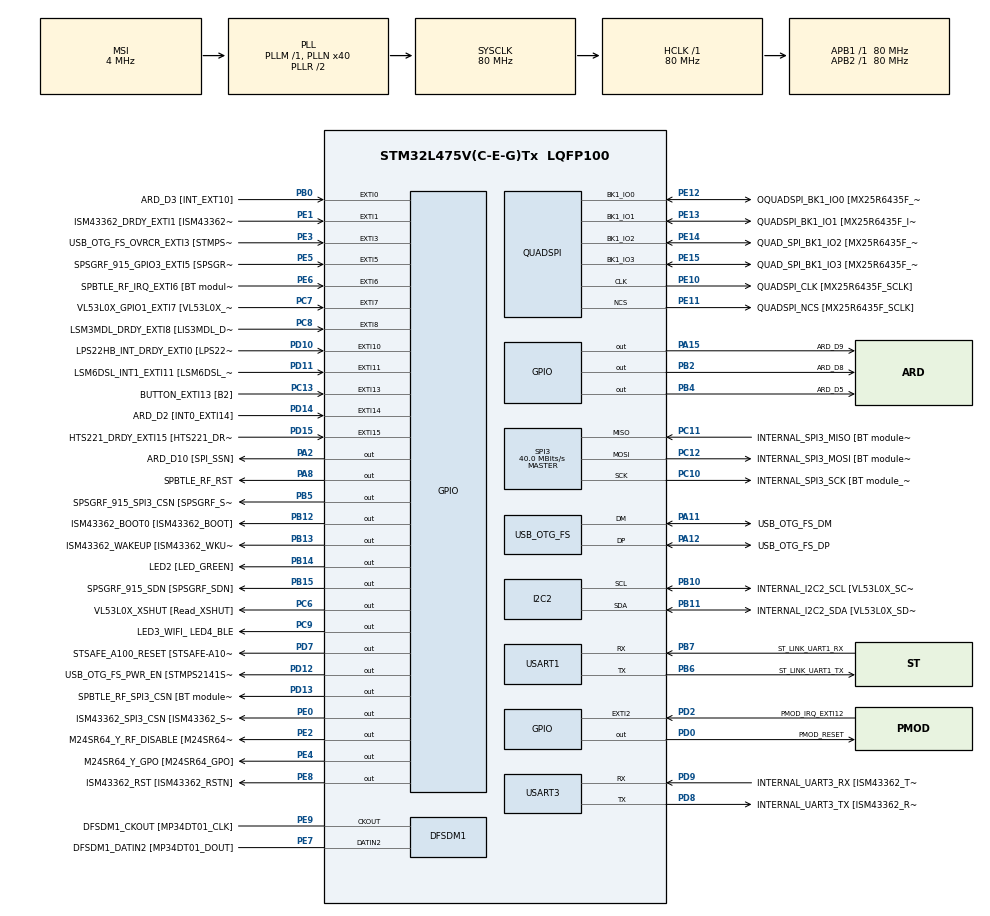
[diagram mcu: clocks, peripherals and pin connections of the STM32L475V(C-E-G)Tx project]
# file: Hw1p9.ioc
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FREERTOS.Tasks01=defaultTask,24,128,StartDefaultTask,Default,NULL,Dynamic,NULL,NULL
Mcu.Family=STM32L4
Mcu.Name=STM32L475V(C-E-G)Tx
Mcu.Package=LQFP100
NVIC.EXTI15_10_IRQn=true\:5\:0\:false\:false\:true\:true\:true\:true\:true
NVIC.EXTI9_5_IRQn=true\:5\:0\:false\:false\:true\:true\:true\:true\:true
NVIC.PriorityGroup=NVIC_PRIORITYGROUP_4
NVIC.TIM6_DAC_IRQn=true\:15\:0\:false\:false\:true\:false\:false\:true\:true
NVIC.TimeBase=TIM6_DAC_IRQn
NVIC.TimeBaseIP=TIM6
PA0.GPIO_Label=ARD_D1 [UART4_TX]
PA0.Signal=UART4_TX
PA1.GPIO_Label=ARD_D0 [UART4_RX]
PA1.Signal=UART4_RX
PA10.GPIO_Label=USB_OTG_FS_ID
PA10.Signal=USB_OTG_FS_ID
PA11.GPIO_Label=USB_OTG_FS_DM
PA11.Mode=Device_Only
PA11.Signal=USB_OTG_FS_DM
PA12.GPIO_Label=USB_OTG_FS_DP
PA12.Mode=Device_Only
PA12.Signal=USB_OTG_FS_DP
PA13\ (JTMS-SWDIO).GPIO_Label=SYS_JTMS_SWDIO
PA13\ (JTMS-SWDIO).Mode=Trace_Asynchronous_SW
PA13\ (JTMS-SWDIO).Signal=SYS_JTMS-SWDIO
PA14\ (JTCK-SWCLK).GPIO_Label=SYS_JTCK_SWCLK
PA14\ (JTCK-SWCLK).Mode=Trace_Asynchronous_SW
PA14\ (JTCK-SWCLK).Signal=SYS_JTCK-SWCLK
PA15\ (JTDI).GPIO_Label=ARD_D9
PA15\ (JTDI).Signal=GPIO_Output
PA2.GPIO_Label=ARD_D10 [SPI_SSN]
PA2.Signal=GPIO_Output
PA3.GPIO_Label=ARD_D4
PA3.Signal=S_TIM2_CH4
PA4.GPIO_Label=ARD_D7
PA4.Signal=ADCx_IN9
PA5.GPIO_Label=ARD_D13 [SPI1_SCK]
PA5.Signal=SPI1_SCK
PA6.GPIO_Label=ARD_D12 [SPI1_MISO]
PA6.Signal=SPI1_MISO
PA7.GPIO_Label=ARD_D11 [SPI1_MOSI]
PA7.Signal=SPI1_MOSI
PA8.GPIO_Label=SPBTLE_RF_RST
PA8.Signal=GPIO_Output
PA9.GPIO_Label=USB_OTG_FS_VBUS [STMPS2141STR_OUT]
PA9.Signal=USB_OTG_FS_VBUS
PB0.GPIO_Label=ARD_D3 [INT_EXT10]
PB0.Signal=GPXTI0
PB1.GPIO_Label=ARD_D6 [ADC1_IN6]
PB1.Signal=ADCx_IN16
PB10.GPIO_Label=INTERNAL_I2C2_SCL [VL53L0X_SCL]
PB10.GPIO_Pu=GPIO_PULLUP
PB10.Mode=I2C
PB10.Signal=I2C2_SCL
PB11.GPIO_Label=INTERNAL_I2C2_SDA [VL53L0X_SDA]
PB11.GPIO_Pu=GPIO_PULLUP
PB11.Mode=I2C
PB11.Signal=I2C2_SDA
PB12.GPIO_Label=ISM43362_BOOT0 [ISM43362_BOOT]
PB12.Signal=GPIO_Output
PB13.GPIO_Label=ISM43362_WAKEUP [ISM43362_WKUP]
PB13.Signal=GPIO_Output
PB14.GPIO_Label=LED2 [LED_GREEN]
PB14.Signal=GPIO_Output
PB15.GPIO_Label=SPSGRF_915_SDN [SPSGRF_SDN]
PB15.Signal=GPIO_Output
PB2.GPIO_Label=ARD_D8
PB2.Signal=GPIO_Output
PB3\ (JTDO-TRACESWO).GPIO_Label=SYS_JTD0_SWO
PB3\ (JTDO-TRACESWO).Mode=Trace_Asynchronous_SW
PB3\ (JTDO-TRACESWO).Signal=SYS_JTDO-SWO
PB4\ (NJTRST).GPIO_Label=ARD_D5
PB4\ (NJTRST).Signal=GPIO_Output
PB5.GPIO_Label=SPSGRF_915_SPI3_CSN [SPSGRF_SPI_CS]
PB5.PinState=GPIO_PIN_SET
PB5.Signal=GPIO_Output
PB6.GPIO_Label=ST_LINK_UART1_TX
PB6.Mode=Asynchronous
PB6.Signal=USART1_TX
PB7.GPIO_Label=ST_LINK_UART1_RX
PB7.Mode=Asynchronous
PB7.Signal=USART1_RX
PB8.GPIO_Label=ARD_D15 [I2C1_SCL]
PB8.Signal=I2C1_SCL
PB9.GPIO_Label=ARD_D14 [I2C1_SDA]
PB9.Signal=I2C1_SDA
PC0.GPIO_Label=ARD_A5 [ADC]
PC0.Signal=ADCx_IN1
PC1.GPIO_Label=ARD_A4 [ADC]
PC1.Signal=ADCx_IN2
PC10.GPIO_Label=INTERNAL_SPI3_SCK [BT module_SPI_SCLK] [ISM43362_SCK]
PC10.Mode=Full_Duplex_Master
PC10.Signal=SPI3_SCK
PC11.GPIO_Label=INTERNAL_SPI3_MISO [BT module_SPI_MISO] [ISM43362_MISO]
PC11.Mode=Full_Duplex_Master
PC11.Signal=SPI3_MISO
PC12.GPIO_Label=INTERNAL_SPI3_MOSI [BT module_SPI_MOSI] [ISM43362_MOSI]
PC12.Mode=Full_Duplex_Master
PC12.Signal=SPI3_MOSI
PC13.GPIO_Label=BUTTON_EXTI13 [B2]
PC13.GPIO_ModeDefaultEXTI=GPIO_MODE_IT_FALLING
PC13.Signal=GPXTI13
PC14-OSC32_IN\ (PC14).Mode=LSE-External-Oscillator
PC14-OSC32_IN\ (PC14).Signal=RCC_OSC32_IN
PC15-OSC32_OUT\ (PC15).Mode=LSE-External-Oscillator
PC15-OSC32_OUT\ (PC15).Signal=RCC_OSC32_OUT
PC2.GPIO_Label=ARD_A3 [ADC]
PC2.Signal=ADCx_IN3
PC3.GPIO_Label=ARD_A2 [ADC]
PC3.Signal=ADCx_IN4
PC4.GPIO_Label=ARD_A1 [ADC]
PC4.Signal=ADCx_IN13
PC5.GPIO_Label=ARD_A0 [ADC]
PC5.Signal=ADCx_IN14
PC6.GPIO_Label=VL53L0X_XSHUT [Read_XSHUT]
PC6.Signal=GPIO_Output
PC7.GPIO_Label=VL53L0X_GPIO1_EXTI7 [VL53L0X_GPIO1]
PC7.Signal=GPXTI7
PC8.GPIO_Label=LSM3MDL_DRDY_EXTI8 [LIS3MDL_DRDY]
PC8.Signal=GPXTI8
PC9.GPIO_Label=LED3_WIFI_ LED4_BLE
PC9.Signal=GPIO_Output
PD0.GPIO_Label=PMOD_RESET
PD0.Signal=GPIO_Output
PD1.GPIO_Label=PMOD_SPI2_SCK
PD1.Signal=SPI2_SCK
PD10.GPIO_Label=LPS22HB_INT_DRDY_EXTI0 [LPS22HB_INT_DRDY] 
PD10.Signal=GPXTI10
PD11.GPIO_Label=LSM6DSL_INT1_EXTI11 [LSM6DSL_INT1]
PD11.Signal=GPXTI11
PD12.GPIO_Label=USB_OTG_FS_PWR_EN [STMPS2141STR_EN]
PD12.Signal=GPIO_Output
PD13.GPIO_Label=SPBTLE_RF_SPI3_CSN [BT module_SPI_CS]
PD13.PinState=GPIO_PIN_SET
PD13.Signal=GPIO_Output
PD14.GPIO_Label=ARD_D2 [INT0_EXTI14]
PD14.Signal=GPXTI14
PD15.GPIO_Label=HTS221_DRDY_EXTI15 [HTS221_DRDY]
PD15.Signal=GPXTI15
PD2.GPIO_Label=PMOD_IRQ_EXTI12
PD2.Signal=GPXTI2
PD3.GPIO_Label=PMOD_UART2_CTS
PD3.Signal=USART2_CTS
PD4.GPIO_Label=PMOD_UART2_RTS
PD4.Signal=USART2_RTS
PD5.GPIO_Label=PMOD_UART2_TX
PD5.Signal=USART2_TX
PD6.GPIO_Label=PMOD_UART2_RX
PD6.Signal=USART2_RX
PD7.GPIO_Label=STSAFE_A100_RESET [STSAFE-A100_RESET]
PD7.Signal=GPIO_Output
PD8.GPIO_Label=INTERNAL_UART3_TX [ISM43362_RX]
PD8.Mode=Asynchronous
PD8.Signal=USART3_TX
PD9.GPIO_Label=INTERNAL_UART3_RX [ISM43362_TX]
PD9.Mode=Asynchronous
PD9.Signal=USART3_RX
PE0.GPIO_Label=ISM43362_SPI3_CSN [ISM43362_SSN]
PE0.PinState=GPIO_PIN_SET
PE0.Signal=GPIO_Output
PE1.GPIO_Label=ISM43362_DRDY_EXTI1 [ISM43362_DATARDY]
PE1.Signal=GPXTI1
PE10.GPIO_Label=QUADSPI_CLK [MX25R6435F_SCLK]
PE10.Mode=Single Bank
PE10.Signal=QUADSPI_CLK
PE11.GPIO_Label=QUADSPI_NCS [MX25R6435F_SCLK]
PE11.Mode=Single Bank
PE11.Signal=QUADSPI_NCS
PE12.GPIO_Label=OQUADSPI_BK1_IO0 [MX25R6435F_IO0]
PE12.Mode=Single Bank
PE12.Signal=QUADSPI_BK1_IO0
PE13.GPIO_Label=QUADSPI_BK1_IO1 [MX25R6435F_IO1]
PE13.Mode=Single Bank
PE13.Signal=QUADSPI_BK1_IO1
PE14.GPIO_Label=QUAD_SPI_BK1_IO2 [MX25R6435F_IO2]
PE14.Mode=Single Bank
PE14.Signal=QUADSPI_BK1_IO2
PE15.GPIO_Label=QUAD_SPI_BK1_IO3 [MX25R6435F_IO3]
PE15.Mode=Single Bank
PE15.Signal=QUADSPI_BK1_IO3
PE2.GPIO_Label=M24SR64_Y_RF_DISABLE [M24SR64_RFDIS]
PE2.Signal=GPIO_Output
PE3.GPIO_Label=USB_OTG_FS_OVRCR_EXTI3 [STMPS2141STR_FAULT]
PE3.Signal=GPXTI3
PE4.GPIO_Label=M24SR64_Y_GPO [M24SR64_GPO]
PE4.Signal=GPIO_Output
PE5.GPIO_Label=SPSGRF_915_GPIO3_EXTI5 [SPSGRF_GPIO_3]
PE5.Signal=GPXTI5
PE6.GPIO_Label=SPBTLE_RF_IRQ_EXTI6 [BT module_SPI_IRQ]
PE6.Signal=GPXTI6
PE7.GPIO_Label=DFSDM1_DATIN2 [MP34DT01_DOUT]
PE7.Signal=S_DATAIN2DFSDM1
PE8.GPIO_Label=ISM43362_RST [ISM43362_RSTN]
PE8.Signal=GPIO_Output
PE9.GPIO_Label=DFSDM1_CKOUT [MP34DT01_CLK]
PE9.Signal=S_CKOUTDFSDM1
ProjectManager.HeapSize=0x200
ProjectManager.StackSize=0x400
ProjectManager.TargetToolchain=STM32CubeIDE
QUADSPI.ClockPrescaler=2
QUADSPI.FifoThreshold=4
QUADSPI.FlashSize=23
QUADSPI.SampleShifting=QSPI_SAMPLE_SHIFTING_HALFCYCLE
RCC.ADCFreq_Value=48000000
RCC.AHBFreq_Value=80000000
RCC.APB1Freq_Value=80000000
RCC.APB1TimFreq_Value=80000000
RCC.APB2Freq_Value=80000000
RCC.APB2TimFreq_Value=80000000
RCC.CortexFreq_Value=80000000
RCC.HCLKFreq_Value=80000000
RCC.HSE_VALUE=8000000
RCC.HSI_VALUE=16000000
RCC.MSI_VALUE=4000000
RCC.PLLN=40
RCC.PLLSAI1N=24
RCC.SYSCLKFreq_VALUE=80000000
RCC.SYSCLKSource=RCC_SYSCLKSOURCE_PLLCLK
RCC.USBFreq_Value=48000000
RCC.VCOOutputFreq_Value=160000000
SH.ADCx_IN1.0=ADC1_IN1
SH.ADCx_IN13.0=ADC1_IN13
SH.ADCx_IN14.0=ADC1_IN14
SH.ADCx_IN16.0=ADC1_IN16
SH.ADCx_IN2.0=ADC1_IN2
SH.ADCx_IN3.0=ADC1_IN3
SH.ADCx_IN4.0=ADC1_IN4
SH.ADCx_IN9.0=ADC1_IN9
SH.S_CKOUTDFSDM1.0=DFSDM1_CKOUT,CKOUT
SH.S_CKOUTDFSDM1.1=DFSDM1_CKOUT,PDM_SPI_Input_from_ch12_and_Internal_Clock
SH.S_DATAIN2DFSDM1.0=DFSDM1_DATIN2,PDM_SPI_Input_from_ch12_and_Internal_Clock
SH.S_TIM2_CH4.0=TIM2_CH4
SPI3.CalculateBaudRate=40.0 MBits/s
SPI3.Direction=SPI_DIRECTION_2LINES
SPI3.Mode=SPI_MODE_MASTER
SPI3.VirtualType=VM_MASTER
USART1.VirtualMode-Asynchronous=VM_ASYNC
USART3.VirtualMode-Asynchronous=VM_ASYNC
USB_OTG_FS.VirtualMode=Device_Only
VP_FREERTOS_VS_CMSIS_V2.Mode=CMSIS_V2
VP_SYS_VS_tim6.Mode=TIM6
board=B-L475E-IOT01A1

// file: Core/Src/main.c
/* USER CODE BEGIN Header */
/**
  ******************************************************************************
  * @file           : main.c
  * @brief          : Main program body
  ******************************************************************************
  * @attention
  *
  * Copyright (c) 2024 STMicroelectronics.
  * All rights reserved.
  *
  * This software is licensed under terms that can be found in the LICENSE file
  * in the root directory of this software component.
  * If no LICENSE file comes with this software, it is provided AS-IS.
  *
  ******************************************************************************
  */
/* USER CODE END Header */
#include "main.h"
#include "cmsis_os.h"

/* USER CODE BEGIN Includes */
#include "FreeRTOS.h"
#include "task.h"
#include "timers.h"
#include <stdio.h>
#include <string.h>
#include "queue.h"
#include "semphr.h"
#include "event_groups.h"
/* USER CODE END Includes */

DFSDM_Channel_HandleTypeDef hdfsdm1_channel1;

I2C_HandleTypeDef hi2c2;

QSPI_HandleTypeDef hqspi;

SPI_HandleTypeDef hspi3;

UART_HandleTypeDef huart1;
UART_HandleTypeDef huart3;

PCD_HandleTypeDef hpcd_USB_OTG_FS;

/* Definitions for defaultTask */
osThreadId_t defaultTaskHandle;
int tick=0;
const osPriority_t norm=osPriorityNormal;
const osPriority_t abv=osPriorityAboveNormal;
const osThreadAttr_t defaultTask_attributes = {
  .name = "defaultTask",
  .stack_size = 128 * 4,
  .priority = osPriorityNormal,
};
/* USER CODE BEGIN PV */
osThreadId_t task3handle;
osThreadAttr_t task3_attributes = {
  .name = "Task3",
  .stack_size = 128 * 4,
  .priority = (osPriority_t) norm,
};
QueueHandle_t xQueue = NULL;
TaskHandle_t xHandle1 = NULL;
TaskHandle_t xHandle2 = NULL;
TaskHandle_t xHandle3 = NULL;
osThreadId_t task2handle;
const osThreadAttr_t task2_attributes = {
  .name = "Task2",
  .stack_size = 128 * 4,
  .priority = (osPriority_t) osPriorityNormal,
};
/* USER CODE END PV */

void SystemClock_Config(void);
static void MX_GPIO_Init(void);
static void MX_DFSDM1_Init(void);
static void MX_I2C2_Init(void);
static void MX_QUADSPI_Init(void);
static void MX_SPI3_Init(void);
static void MX_USART1_UART_Init(void);
static void MX_USART3_UART_Init(void);
static void MX_USB_OTG_FS_PCD_Init(void);
void StartDefaultTask(void *argument);

/* USER CODE BEGIN PFP */
void myTask02(void *arguement);
void myTask03(void *arguement);
/* USER CODE END PFP */

int main(void)
{

  /* MCU Configuration--------------------------------------------------------*/

  /* Reset of all peripherals, Initializes the Flash interface and the Systick. */
  HAL_Init();

  /* Configure the system clock */
  SystemClock_Config();

  /* Initialize all configured peripherals */
  MX_GPIO_Init();
  MX_DFSDM1_Init();
  MX_I2C2_Init();
  MX_QUADSPI_Init();
  MX_SPI3_Init();
  MX_USART1_UART_Init();
  MX_USART3_UART_Init();
  MX_USB_OTG_FS_PCD_Init();

  /* Init scheduler */
  osKernelInitialize();

  /* Create the thread(s) */
  /* creation of defaultTask */
  defaultTaskHandle = osThreadNew(StartDefaultTask, NULL, &defaultTask_attributes);
  task3handle = osThreadNew(myTask03, NULL, &task3_attributes);
  task2handle = osThreadNew(myTask02, NULL, &task2_attributes);

  /* Start scheduler */
  osKernelStart();

  /* We should never get here as control is now taken by the scheduler */

  /* Infinite loop */
  while (1)
  {

  }
}

void SystemClock_Config(void)
{
  RCC_OscInitTypeDef RCC_OscInitStruct = {0};
  RCC_ClkInitTypeDef RCC_ClkInitStruct = {0};

  /** Configure the main internal regulator output voltage
  */
  if (HAL_PWREx_ControlVoltageScaling(PWR_REGULATOR_VOLTAGE_SCALE1) != HAL_OK)
  {
    Error_Handler();
  }

  /** Configure LSE Drive Capability
  */
  HAL_PWR_EnableBkUpAccess();
  __HAL_RCC_LSEDRIVE_CONFIG(RCC_LSEDRIVE_LOW);

  /** Initializes the RCC Oscillators according to the specified parameters
  * in the RCC_OscInitTypeDef structure.
  */
  RCC_OscInitStruct.OscillatorType = RCC_OSCILLATORTYPE_LSE|RCC_OSCILLATORTYPE_MSI;
  RCC_OscInitStruct.LSEState = RCC_LSE_ON;
  RCC_OscInitStruct.MSIState = RCC_MSI_ON;
  RCC_OscInitStruct.MSICalibrationValue = 0;
  RCC_OscInitStruct.MSIClockRange = RCC_MSIRANGE_6;
  RCC_OscInitStruct.PLL.PLLState = RCC_PLL_ON;
  RCC_OscInitStruct.PLL.PLLSource = RCC_PLLSOURCE_MSI;
  RCC_OscInitStruct.PLL.PLLM = 1;
  RCC_OscInitStruct.PLL.PLLN = 40;
  RCC_OscInitStruct.PLL.PLLP = RCC_PLLP_DIV7;
  RCC_OscInitStruct.PLL.PLLQ = RCC_PLLQ_DIV2;
  RCC_OscInitStruct.PLL.PLLR = RCC_PLLR_DIV2;
  if (HAL_RCC_OscConfig(&RCC_OscInitStruct) != HAL_OK)
  {
    Error_Handler();
  }

  /** Initializes the CPU, AHB and APB buses clocks
  */
  RCC_ClkInitStruct.ClockType = RCC_CLOCKTYPE_HCLK|RCC_CLOCKTYPE_SYSCLK
                              |RCC_CLOCKTYPE_PCLK1|RCC_CLOCKTYPE_PCLK2;
  RCC_ClkInitStruct.SYSCLKSource = RCC_SYSCLKSOURCE_PLLCLK;
  RCC_ClkInitStruct.AHBCLKDivider = RCC_SYSCLK_DIV1;
  RCC_ClkInitStruct.APB1CLKDivider = RCC_HCLK_DIV1;
  RCC_ClkInitStruct.APB2CLKDivider = RCC_HCLK_DIV1;

  if (HAL_RCC_ClockConfig(&RCC_ClkInitStruct, FLASH_LATENCY_4) != HAL_OK)
  {
    Error_Handler();
  }

  /** Enable MSI Auto calibration
  */
  HAL_RCCEx_EnableMSIPLLMode();
}

static void MX_DFSDM1_Init(void)
{

  hdfsdm1_channel1.Instance = DFSDM1_Channel1;
  hdfsdm1_channel1.Init.OutputClock.Activation = ENABLE;
  hdfsdm1_channel1.Init.OutputClock.Selection = DFSDM_CHANNEL_OUTPUT_CLOCK_SYSTEM;
  hdfsdm1_channel1.Init.OutputClock.Divider = 2;
  hdfsdm1_channel1.Init.Input.Multiplexer = DFSDM_CHANNEL_EXTERNAL_INPUTS;
  hdfsdm1_channel1.Init.Input.DataPacking = DFSDM_CHANNEL_STANDARD_MODE;
  hdfsdm1_channel1.Init.Input.Pins = DFSDM_CHANNEL_FOLLOWING_CHANNEL_PINS;
  hdfsdm1_channel1.Init.SerialInterface.Type = DFSDM_CHANNEL_SPI_RISING;
  hdfsdm1_channel1.Init.SerialInterface.SpiClock = DFSDM_CHANNEL_SPI_CLOCK_INTERNAL;
  hdfsdm1_channel1.Init.Awd.FilterOrder = DFSDM_CHANNEL_FASTSINC_ORDER;
  hdfsdm1_channel1.Init.Awd.Oversampling = 1;
  hdfsdm1_channel1.Init.Offset = 0;
  hdfsdm1_channel1.Init.RightBitShift = 0x00;
  if (HAL_DFSDM_ChannelInit(&hdfsdm1_channel1) != HAL_OK)
  {
    Error_Handler();
  }

}

static void MX_I2C2_Init(void)
{

  hi2c2.Instance = I2C2;
  hi2c2.Init.Timing = 0x00000E14;
  hi2c2.Init.OwnAddress1 = 0;
  hi2c2.Init.AddressingMode = I2C_ADDRESSINGMODE_7BIT;
  hi2c2.Init.DualAddressMode = I2C_DUALADDRESS_DISABLE;
  hi2c2.Init.OwnAddress2 = 0;
  hi2c2.Init.OwnAddress2Masks = I2C_OA2_NOMASK;
  hi2c2.Init.GeneralCallMode = I2C_GENERALCALL_DISABLE;
  hi2c2.Init.NoStretchMode = I2C_NOSTRETCH_DISABLE;
  if (HAL_I2C_Init(&hi2c2) != HAL_OK)
  {
    Error_Handler();
  }

  /** Configure Analogue filter
  */
  if (HAL_I2CEx_ConfigAnalogFilter(&hi2c2, I2C_ANALOGFILTER_ENABLE) != HAL_OK)
  {
    Error_Handler();
  }

  /** Configure Digital filter
  */
  if (HAL_I2CEx_ConfigDigitalFilter(&hi2c2, 0) != HAL_OK)
  {
    Error_Handler();
  }

}

static void MX_QUADSPI_Init(void)
{

  /* QUADSPI parameter configuration*/
  hqspi.Instance = QUADSPI;
  hqspi.Init.ClockPrescaler = 2;
  hqspi.Init.FifoThreshold = 4;
  hqspi.Init.SampleShifting = QSPI_SAMPLE_SHIFTING_HALFCYCLE;
  hqspi.Init.FlashSize = 23;
  hqspi.Init.ChipSelectHighTime = QSPI_CS_HIGH_TIME_1_CYCLE;
  hqspi.Init.ClockMode = QSPI_CLOCK_MODE_0;
  if (HAL_QSPI_Init(&hqspi) != HAL_OK)
  {
    Error_Handler();
  }

}

static void MX_SPI3_Init(void)
{

  /* SPI3 parameter configuration*/
  hspi3.Instance = SPI3;
  hspi3.Init.Mode = SPI_MODE_MASTER;
  hspi3.Init.Direction = SPI_DIRECTION_2LINES;
  hspi3.Init.DataSize = SPI_DATASIZE_4BIT;
  hspi3.Init.CLKPolarity = SPI_POLARITY_LOW;
  hspi3.Init.CLKPhase = SPI_PHASE_1EDGE;
  hspi3.Init.NSS = SPI_NSS_SOFT;
  hspi3.Init.BaudRatePrescaler = SPI_BAUDRATEPRESCALER_2;
  hspi3.Init.FirstBit = SPI_FIRSTBIT_MSB;
  hspi3.Init.TIMode = SPI_TIMODE_DISABLE;
  hspi3.Init.CRCCalculation = SPI_CRCCALCULATION_DISABLE;
  hspi3.Init.CRCPolynomial = 7;
  hspi3.Init.CRCLength = SPI_CRC_LENGTH_DATASIZE;
  hspi3.Init.NSSPMode = SPI_NSS_PULSE_ENABLE;
  if (HAL_SPI_Init(&hspi3) != HAL_OK)
  {
    Error_Handler();
  }

}

static void MX_USART1_UART_Init(void)
{

  huart1.Instance = USART1;
  huart1.Init.BaudRate = 115200;
  huart1.Init.WordLength = UART_WORDLENGTH_8B;
  huart1.Init.StopBits = UART_STOPBITS_1;
  huart1.Init.Parity = UART_PARITY_NONE;
  huart1.Init.Mode = UART_MODE_TX_RX;
  huart1.Init.HwFlowCtl = UART_HWCONTROL_NONE;
  huart1.Init.OverSampling = UART_OVERSAMPLING_16;
  huart1.Init.OneBitSampling = UART_ONE_BIT_SAMPLE_DISABLE;
  huart1.AdvancedInit.AdvFeatureInit = UART_ADVFEATURE_NO_INIT;
  if (HAL_UART_Init(&huart1) != HAL_OK)
  {
    Error_Handler();
  }

}

static void MX_USART3_UART_Init(void)
{

  huart3.Instance = USART3;
  huart3.Init.BaudRate = 115200;
  huart3.Init.WordLength = UART_WORDLENGTH_8B;
  huart3.Init.StopBits = UART_STOPBITS_1;
  huart3.Init.Parity = UART_PARITY_NONE;
  huart3.Init.Mode = UART_MODE_TX_RX;
  huart3.Init.HwFlowCtl = UART_HWCONTROL_NONE;
  huart3.Init.OverSampling = UART_OVERSAMPLING_16;
  huart3.Init.OneBitSampling = UART_ONE_BIT_SAMPLE_DISABLE;
  huart3.AdvancedInit.AdvFeatureInit = UART_ADVFEATURE_NO_INIT;
  if (HAL_UART_Init(&huart3) != HAL_OK)
  {
    Error_Handler();
  }

}

static void MX_USB_OTG_FS_PCD_Init(void)
{

  hpcd_USB_OTG_FS.Instance = USB_OTG_FS;
  hpcd_USB_OTG_FS.Init.dev_endpoints = 6;
  hpcd_USB_OTG_FS.Init.speed = PCD_SPEED_FULL;
  hpcd_USB_OTG_FS.Init.phy_itface = PCD_PHY_EMBEDDED;
  hpcd_USB_OTG_FS.Init.Sof_enable = DISABLE;
  hpcd_USB_OTG_FS.Init.low_power_enable = DISABLE;
  hpcd_USB_OTG_FS.Init.lpm_enable = DISABLE;
  hpcd_USB_OTG_FS.Init.battery_charging_enable = DISABLE;
  hpcd_USB_OTG_FS.Init.use_dedicated_ep1 = DISABLE;
  hpcd_USB_OTG_FS.Init.vbus_sensing_enable = DISABLE;
  if (HAL_PCD_Init(&hpcd_USB_OTG_FS) != HAL_OK)
  {
    Error_Handler();
  }

}

static void MX_GPIO_Init(void)
{
  GPIO_InitTypeDef GPIO_InitStruct = {0};

  /* GPIO Ports Clock Enable */
  __HAL_RCC_GPIOE_CLK_ENABLE();
  __HAL_RCC_GPIOC_CLK_ENABLE();
  __HAL_RCC_GPIOA_CLK_ENABLE();
  __HAL_RCC_GPIOB_CLK_ENABLE();
  __HAL_RCC_GPIOD_CLK_ENABLE();

  /*Configure GPIO pin Output Level */
  HAL_GPIO_WritePin(GPIOE, M24SR64_Y_RF_DISABLE_Pin|M24SR64_Y_GPO_Pin|ISM43362_RST_Pin, GPIO_PIN_RESET);

  /*Configure GPIO pin Output Level */
  HAL_GPIO_WritePin(GPIOA, ARD_D10_Pin|SPBTLE_RF_RST_Pin|ARD_D9_Pin, GPIO_PIN_RESET);

  /*Configure GPIO pin Output Level */
  HAL_GPIO_WritePin(GPIOB, ARD_D8_Pin|ISM43362_BOOT0_Pin|ISM43362_WAKEUP_Pin|LED2_Pin
                          |SPSGRF_915_SDN_Pin|ARD_D5_Pin, GPIO_PIN_RESET);

  /*Configure GPIO pin Output Level */
  HAL_GPIO_WritePin(GPIOD, USB_OTG_FS_PWR_EN_Pin|PMOD_RESET_Pin|STSAFE_A100_RESET_Pin, GPIO_PIN_RESET);

  /*Configure GPIO pin Output Level */
  HAL_GPIO_WritePin(SPBTLE_RF_SPI3_CSN_GPIO_Port, SPBTLE_RF_SPI3_CSN_Pin, GPIO_PIN_SET);

  /*Configure GPIO pin Output Level */
  HAL_GPIO_WritePin(GPIOC, VL53L0X_XSHUT_Pin|LED3_WIFI__LED4_BLE_Pin, GPIO_PIN_RESET);

  /*Configure GPIO pin Output Level */
  HAL_GPIO_WritePin(SPSGRF_915_SPI3_CSN_GPIO_Port, SPSGRF_915_SPI3_CSN_Pin, GPIO_PIN_SET);

  /*Configure GPIO pin Output Level */
  HAL_GPIO_WritePin(ISM43362_SPI3_CSN_GPIO_Port, ISM43362_SPI3_CSN_Pin, GPIO_PIN_SET);

  /*Configure GPIO pins : M24SR64_Y_RF_DISABLE_Pin M24SR64_Y_GPO_Pin ISM43362_RST_Pin ISM43362_SPI3_CSN_Pin */
  GPIO_InitStruct.Pin = M24SR64_Y_RF_DISABLE_Pin|M24SR64_Y_GPO_Pin|ISM43362_RST_Pin|ISM43362_SPI3_CSN_Pin;
  GPIO_InitStruct.Mode = GPIO_MODE_OUTPUT_PP;
  GPIO_InitStruct.Pull = GPIO_NOPULL;
  GPIO_InitStruct.Speed = GPIO_SPEED_FREQ_LOW;
  HAL_GPIO_Init(GPIOE, &GPIO_InitStruct);

  /*Configure GPIO pins : USB_OTG_FS_OVRCR_EXTI3_Pin SPSGRF_915_GPIO3_EXTI5_Pin SPBTLE_RF_IRQ_EXTI6_Pin ISM43362_DRDY_EXTI1_Pin */
  GPIO_InitStruct.Pin = USB_OTG_FS_OVRCR_EXTI3_Pin|SPSGRF_915_GPIO3_EXTI5_Pin|SPBTLE_RF_IRQ_EXTI6_Pin|ISM43362_DRDY_EXTI1_Pin;
  GPIO_InitStruct.Mode = GPIO_MODE_IT_RISING;
  GPIO_InitStruct.Pull = GPIO_NOPULL;
  HAL_GPIO_Init(GPIOE, &GPIO_InitStruct);

  /*Configure GPIO pin : BUTTON_EXTI13_Pin */
  GPIO_InitStruct.Pin = BUTTON_EXTI13_Pin;
  GPIO_InitStruct.Mode = GPIO_MODE_IT_FALLING;
  GPIO_InitStruct.Pull = GPIO_NOPULL;
  HAL_GPIO_Init(BUTTON_EXTI13_GPIO_Port, &GPIO_InitStruct);

  /*Configure GPIO pins : ARD_A5_Pin ARD_A4_Pin ARD_A3_Pin ARD_A2_Pin
                           ARD_A1_Pin ARD_A0_Pin */
  GPIO_InitStruct.Pin = ARD_A5_Pin|ARD_A4_Pin|ARD_A3_Pin|ARD_A2_Pin
                          |ARD_A1_Pin|ARD_A0_Pin;
  GPIO_InitStruct.Mode = GPIO_MODE_ANALOG_ADC_CONTROL;
  GPIO_InitStruct.Pull = GPIO_NOPULL;
  HAL_GPIO_Init(GPIOC, &GPIO_InitStruct);

  /*Configure GPIO pins : ARD_D1_Pin ARD_D0_Pin */
  GPIO_InitStruct.Pin = ARD_D1_Pin|ARD_D0_Pin;
  GPIO_InitStruct.Mode = GPIO_MODE_AF_PP;
  GPIO_InitStruct.Pull = GPIO_NOPULL;
  GPIO_InitStruct.Speed = GPIO_SPEED_FREQ_VERY_HIGH;
  GPIO_InitStruct.Alternate = GPIO_AF8_UART4;
  HAL_GPIO_Init(GPIOA, &GPIO_InitStruct);

  /*Configure GPIO pins : ARD_D10_Pin SPBTLE_RF_RST_Pin ARD_D9_Pin */
  GPIO_InitStruct.Pin = ARD_D10_Pin|SPBTLE_RF_RST_Pin|ARD_D9_Pin;
  GPIO_InitStruct.Mode = GPIO_MODE_OUTPUT_PP;
  GPIO_InitStruct.Pull = GPIO_NOPULL;
  GPIO_InitStruct.Speed = GPIO_SPEED_FREQ_LOW;
  HAL_GPIO_Init(GPIOA, &GPIO_InitStruct);

  /*Configure GPIO pin : ARD_D4_Pin */
  GPIO_InitStruct.Pin = ARD_D4_Pin;
  GPIO_InitStruct.Mode = GPIO_MODE_AF_PP;
  GPIO_InitStruct.Pull = GPIO_NOPULL;
  GPIO_InitStruct.Speed = GPIO_SPEED_FREQ_LOW;
  GPIO_InitStruct.Alternate = GPIO_AF1_TIM2;
  HAL_GPIO_Init(ARD_D4_GPIO_Port, &GPIO_InitStruct);

  /*Configure GPIO pin : ARD_D7_Pin */
  GPIO_InitStruct.Pin = ARD_D7_Pin;
  GPIO_InitStruct.Mode = GPIO_MODE_ANALOG_ADC_CONTROL;
  GPIO_InitStruct.Pull = GPIO_NOPULL;
  HAL_GPIO_Init(ARD_D7_GPIO_Port, &GPIO_InitStruct);

  /*Configure GPIO pins : ARD_D13_Pin ARD_D12_Pin ARD_D11_Pin */
  GPIO_InitStruct.Pin = ARD_D13_Pin|ARD_D12_Pin|ARD_D11_Pin;
  GPIO_InitStruct.Mode = GPIO_MODE_AF_PP;
  GPIO_InitStruct.Pull = GPIO_NOPULL;
  GPIO_InitStruct.Speed = GPIO_SPEED_FREQ_VERY_HIGH;
  GPIO_InitStruct.Alternate = GPIO_AF5_SPI1;
  HAL_GPIO_Init(GPIOA, &GPIO_InitStruct);

  /*Configure GPIO pin : ARD_D3_Pin */
  GPIO_InitStruct.Pin = ARD_D3_Pin;
  GPIO_InitStruct.Mode = GPIO_MODE_IT_RISING;
  GPIO_InitStruct.Pull = GPIO_NOPULL;
  HAL_GPIO_Init(ARD_D3_GPIO_Port, &GPIO_InitStruct);

  /*Configure GPIO pin : ARD_D6_Pin */
  GPIO_InitStruct.Pin = ARD_D6_Pin;
  GPIO_InitStruct.Mode = GPIO_MODE_ANALOG_ADC_CONTROL;
  GPIO_InitStruct.Pull = GPIO_NOPULL;
  HAL_GPIO_Init(ARD_D6_GPIO_Port, &GPIO_InitStruct);

  /*Configure GPIO pins : ARD_D8_Pin ISM43362_BOOT0_Pin ISM43362_WAKEUP_Pin LED2_Pin
                           SPSGRF_915_SDN_Pin ARD_D5_Pin SPSGRF_915_SPI3_CSN_Pin */
  GPIO_InitStruct.Pin = ARD_D8_Pin|ISM43362_BOOT0_Pin|ISM43362_WAKEUP_Pin|LED2_Pin
                          |SPSGRF_915_SDN_Pin|ARD_D5_Pin|SPSGRF_915_SPI3_CSN_Pin;
  GPIO_InitStruct.Mode = GPIO_MODE_OUTPUT_PP;
  GPIO_InitStruct.Pull = GPIO_NOPULL;
  GPIO_InitStruct.Speed = GPIO_SPEED_FREQ_LOW;
  HAL_GPIO_Init(GPIOB, &GPIO_InitStruct);

  /*Configure GPIO pins : LPS22HB_INT_DRDY_EXTI0_Pin LSM6DSL_INT1_EXTI11_Pin ARD_D2_Pin HTS221_DRDY_EXTI15_Pin
                           PMOD_IRQ_EXTI12_Pin */
  GPIO_InitStruct.Pin = LPS22HB_INT_DRDY_EXTI0_Pin|LSM6DSL_INT1_EXTI11_Pin|ARD_D2_Pin|HTS221_DRDY_EXTI15_Pin
                          |PMOD_IRQ_EXTI12_Pin;
  GPIO_InitStruct.Mode = GPIO_MODE_IT_RISING;
  GPIO_InitStruct.Pull = GPIO_NOPULL;
  HAL_GPIO_Init(GPIOD, &GPIO_InitStruct);

  /*Configure GPIO pins : USB_OTG_FS_PWR_EN_Pin SPBTLE_RF_SPI3_CSN_Pin PMOD_RESET_Pin STSAFE_A100_RESET_Pin */
  GPIO_InitStruct.Pin = USB_OTG_FS_PWR_EN_Pin|SPBTLE_RF_SPI3_CSN_Pin|PMOD_RESET_Pin|STSAFE_A100_RESET_Pin;
  GPIO_InitStruct.Mode = GPIO_MODE_OUTPUT_PP;
  GPIO_InitStruct.Pull = GPIO_NOPULL;
  GPIO_InitStruct.Speed = GPIO_SPEED_FREQ_LOW;
  HAL_GPIO_Init(GPIOD, &GPIO_InitStruct);

  /*Configure GPIO pins : VL53L0X_XSHUT_Pin LED3_WIFI__LED4_BLE_Pin */
  GPIO_InitStruct.Pin = VL53L0X_XSHUT_Pin|LED3_WIFI__LED4_BLE_Pin;
  GPIO_InitStruct.Mode = GPIO_MODE_OUTPUT_PP;
  GPIO_InitStruct.Pull = GPIO_NOPULL;
  GPIO_InitStruct.Speed = GPIO_SPEED_FREQ_LOW;
  HAL_GPIO_Init(GPIOC, &GPIO_InitStruct);

  /*Configure GPIO pins : VL53L0X_GPIO1_EXTI7_Pin LSM3MDL_DRDY_EXTI8_Pin */
  GPIO_InitStruct.Pin = VL53L0X_GPIO1_EXTI7_Pin|LSM3MDL_DRDY_EXTI8_Pin;
  GPIO_InitStruct.Mode = GPIO_MODE_IT_RISING;
  GPIO_InitStruct.Pull = GPIO_NOPULL;
  HAL_GPIO_Init(GPIOC, &GPIO_InitStruct);

  /*Configure GPIO pin : PMOD_SPI2_SCK_Pin */
  GPIO_InitStruct.Pin = PMOD_SPI2_SCK_Pin;
  GPIO_InitStruct.Mode = GPIO_MODE_AF_PP;
  GPIO_InitStruct.Pull = GPIO_NOPULL;
  GPIO_InitStruct.Speed = GPIO_SPEED_FREQ_VERY_HIGH;
  GPIO_InitStruct.Alternate = GPIO_AF5_SPI2;
  HAL_GPIO_Init(PMOD_SPI2_SCK_GPIO_Port, &GPIO_InitStruct);

  /*Configure GPIO pins : PMOD_UART2_CTS_Pin PMOD_UART2_RTS_Pin PMOD_UART2_TX_Pin PMOD_UART2_RX_Pin */
  GPIO_InitStruct.Pin = PMOD_UART2_CTS_Pin|PMOD_UART2_RTS_Pin|PMOD_UART2_TX_Pin|PMOD_UART2_RX_Pin;
  GPIO_InitStruct.Mode = GPIO_MODE_AF_PP;
  GPIO_InitStruct.Pull = GPIO_NOPULL;
  GPIO_InitStruct.Speed = GPIO_SPEED_FREQ_VERY_HIGH;
  GPIO_InitStruct.Alternate = GPIO_AF7_USART2;
  HAL_GPIO_Init(GPIOD, &GPIO_InitStruct);

  /*Configure GPIO pins : ARD_D15_Pin ARD_D14_Pin */
  GPIO_InitStruct.Pin = ARD_D15_Pin|ARD_D14_Pin;
  GPIO_InitStruct.Mode = GPIO_MODE_AF_OD;
  GPIO_InitStruct.Pull = GPIO_NOPULL;
  GPIO_InitStruct.Speed = GPIO_SPEED_FREQ_VERY_HIGH;
  GPIO_InitStruct.Alternate = GPIO_AF4_I2C1;
  HAL_GPIO_Init(GPIOB, &GPIO_InitStruct);

  /* EXTI interrupt init*/
  HAL_NVIC_SetPriority(EXTI9_5_IRQn, 5, 0);
  HAL_NVIC_EnableIRQ(EXTI9_5_IRQn);

  HAL_NVIC_SetPriority(EXTI15_10_IRQn, 5, 0);
  HAL_NVIC_EnableIRQ(EXTI15_10_IRQn);

}

/* USER CODE BEGIN 4 */
void myTask02(void *arguement){
	  for(;;)
	  {
		if (tick==0){
			tick=1;
			task3_attributes.priority=(osPriority_t) abv;
		}
		else{
			tick=0;
			task3_attributes.priority=(osPriority_t) norm;
		}
	  }

}
void myTask03(void *arguement){
	  for(;;)
	  {
		HAL_GPIO_TogglePin (LED3_WIFI__LED4_BLE_GPIO_Port, LED3_WIFI__LED4_BLE_Pin);
		HAL_Delay(1000);
	  }
}
/* USER CODE END 4 */

void StartDefaultTask(void *argument)
{
  /* USER CODE BEGIN 5 */
  /* Infinite loop */
  for(;;)
  {
	HAL_GPIO_TogglePin (GPIOB, GPIO_PIN_14);
	HAL_GPIO_TogglePin (GPIOE, GPIO_PIN_3);
	//HAL_GPIO_TogglePin (LED3_WIFI__LED4_BLE_GPIO_Port, LED3_WIFI__LED4_BLE_Pin);
    HAL_Delay(1000);
  }
  /* USER CODE END 5 */
}

void HAL_TIM_PeriodElapsedCallback(TIM_HandleTypeDef *htim)
{
  if (htim->Instance == TIM6) {
    HAL_IncTick();
  }
}

void Error_Handler(void)
{
  __disable_irq();
  while (1)
  {
  }
}
